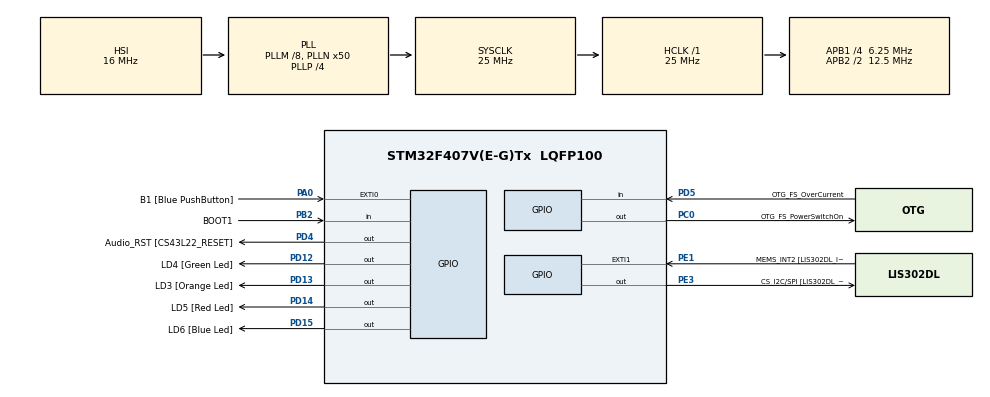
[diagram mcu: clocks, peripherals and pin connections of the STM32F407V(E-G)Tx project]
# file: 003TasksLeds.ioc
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Mcu.Family=STM32F4
Mcu.Name=STM32F407V(E-G)Tx
Mcu.Package=LQFP100
NVIC.PriorityGroup=NVIC_PRIORITYGROUP_4
NVIC.TIM6_DAC_IRQn=true\:0\:0\:false\:false\:true\:false\:true
NVIC.TimeBase=TIM6_DAC_IRQn
NVIC.TimeBaseIP=TIM6
PA0-WKUP.GPIO_Label=B1 [Blue PushButton]
PA0-WKUP.Signal=GPXTI0
PA10.GPIO_Label=OTG_FS_ID
PA10.GPIO_Mode=GPIO_MODE_AF_PP
PA10.GPIO_PuPd=GPIO_NOPULL
PA10.GPIO_Speed=GPIO_SPEED_FREQ_LOW
PA10.Signal=USB_OTG_FS_ID
PA11.GPIO_Label=OTG_FS_DM
PA11.GPIO_Mode=GPIO_MODE_AF_PP
PA11.GPIO_PuPd=GPIO_NOPULL
PA11.GPIO_Speed=GPIO_SPEED_FREQ_LOW
PA11.Signal=USB_OTG_FS_DM
PA12.GPIO_Label=OTG_FS_DP
PA12.GPIO_Mode=GPIO_MODE_AF_PP
PA12.GPIO_PuPd=GPIO_NOPULL
PA12.GPIO_Speed=GPIO_SPEED_FREQ_LOW
PA12.Signal=USB_OTG_FS_DP
PA13.GPIO_Label=SWDIO
PA13.Signal=SYS_JTMS-SWDIO
PA14.GPIO_Label=SWCLK
PA14.Signal=SYS_JTCK-SWCLK
PA4.GPIO_Label=I2S3_WS [CS43L22_LRCK]
PA4.GPIO_Mode=GPIO_MODE_AF_PP
PA4.GPIO_PuPd=GPIO_NOPULL
PA4.GPIO_Speed=GPIO_SPEED_FREQ_LOW
PA4.Signal=I2S3_WS
PA5.GPIO_Label=SPI1_SCK [LIS302DL_SCL/SPC]
PA5.GPIO_Mode=GPIO_MODE_AF_PP
PA5.GPIO_PuPd=GPIO_NOPULL
PA5.GPIO_Speed=GPIO_SPEED_FREQ_LOW
PA5.Signal=SPI1_SCK
PA6.GPIO_Label=SPI1_MISO [LIS302DL_SDO]
PA6.GPIO_Mode=GPIO_MODE_AF_PP
PA6.GPIO_PuPd=GPIO_NOPULL
PA6.GPIO_Speed=GPIO_SPEED_FREQ_LOW
PA6.Signal=SPI1_MISO
PA7.GPIO_Label=SPI1_MOSI [LIS302DL_SDA/SDI/SDO]
PA7.GPIO_Mode=GPIO_MODE_AF_PP
PA7.GPIO_PuPd=GPIO_NOPULL
PA7.GPIO_Speed=GPIO_SPEED_FREQ_LOW
PA7.Signal=SPI1_MOSI
PA9.GPIO_Label=VBUS_FS
PA9.GPIO_Mode=GPIO_MODE_INPUT
PA9.GPIO_PuPd=GPIO_NOPULL
PA9.Signal=USB_OTG_FS_VBUS
PB10.GPIO_Label=CLK_IN [MP45DT02_CLK]
PB10.GPIO_Mode=GPIO_MODE_AF_PP
PB10.GPIO_PuPd=GPIO_NOPULL
PB10.GPIO_Speed=GPIO_SPEED_FREQ_LOW
PB10.Signal=I2S2_CK
PB2.GPIO_Label=BOOT1
PB2.GPIO_Mode=GPIO_MODE_INPUT
PB2.GPIO_PuPd=GPIO_NOPULL
PB2.Signal=GPIO_Input
PB3.GPIO_Label=SWO
PB3.Signal=SYS_JTDO-SWO
PB6.GPIO_Label=Audio_SCL [CS43L22_SCL]
PB6.GPIO_Mode=GPIO_MODE_AF_OD
PB6.GPIO_PuPd=GPIO_NOPULL
PB6.GPIO_Speed=GPIO_SPEED_FREQ_LOW
PB6.Signal=I2C1_SCL
PB9.GPIO_Label=Audio_SDA [CS43L22_SDA]
PB9.GPIO_Mode=GPIO_MODE_AF_OD
PB9.GPIO_PuPd=GPIO_NOPULL
PB9.GPIO_Speed=GPIO_SPEED_FREQ_LOW
PB9.Signal=I2C1_SDA
PC0.GPIO_Label=OTG_FS_PowerSwitchOn
PC0.GPIO_PuPd=GPIO_NOPULL
PC0.GPIO_Speed=GPIO_SPEED_FREQ_LOW
PC0.PinState=GPIO_PIN_SET
PC0.Signal=GPIO_Output
PC10.GPIO_Label=I2S3_SCK [CS43L22_SCLK]
PC10.GPIO_Mode=GPIO_MODE_AF_PP
PC10.GPIO_PuPd=GPIO_NOPULL
PC10.GPIO_Speed=GPIO_SPEED_FREQ_LOW
PC10.Signal=I2S3_CK
PC12.GPIO_Label=I2S3_SD [CS43L22_SDIN]
PC12.GPIO_Mode=GPIO_MODE_AF_PP
PC12.GPIO_PuPd=GPIO_NOPULL
PC12.GPIO_Speed=GPIO_SPEED_FREQ_LOW
PC12.Signal=I2S3_SD
PC14-OSC32_IN.GPIO_Label=PC14-OSC32_IN
PC14-OSC32_IN.Signal=RCC_OSC32_IN
PC15-OSC32_OUT.GPIO_Label=PC15-OSC32_OUT
PC15-OSC32_OUT.Signal=RCC_OSC32_OUT
PC3.GPIO_Label=PDM_OUT [MP45DT02_DOUT]
PC3.GPIO_Mode=GPIO_MODE_AF_PP
PC3.GPIO_PuPd=GPIO_NOPULL
PC3.GPIO_Speed=GPIO_SPEED_FREQ_LOW
PC3.Signal=I2S2_SD
PC7.GPIO_Label=I2S3_MCK [CS43L22_MCLK]
PC7.GPIO_Mode=GPIO_MODE_AF_PP
PC7.GPIO_PuPd=GPIO_NOPULL
PC7.GPIO_Speed=GPIO_SPEED_FREQ_LOW
PC7.Signal=I2S3_MCK
PD12.GPIO_Label=LD4 [Green Led]
PD12.GPIO_PuPd=GPIO_NOPULL
PD12.GPIO_Speed=GPIO_SPEED_FREQ_LOW
PD12.Signal=GPIO_Output
PD13.GPIO_Label=LD3 [Orange Led]
PD13.GPIO_PuPd=GPIO_NOPULL
PD13.GPIO_Speed=GPIO_SPEED_FREQ_LOW
PD13.Signal=GPIO_Output
PD14.GPIO_Label=LD5 [Red Led]
PD14.GPIO_PuPd=GPIO_NOPULL
PD14.GPIO_Speed=GPIO_SPEED_FREQ_LOW
PD14.Signal=GPIO_Output
PD15.GPIO_Label=LD6 [Blue Led]
PD15.GPIO_PuPd=GPIO_NOPULL
PD15.GPIO_Speed=GPIO_SPEED_FREQ_LOW
PD15.Signal=GPIO_Output
PD4.GPIO_Label=Audio_RST [CS43L22_RESET]
PD4.GPIO_PuPd=GPIO_NOPULL
PD4.GPIO_Speed=GPIO_SPEED_FREQ_LOW
PD4.Signal=GPIO_Output
PD5.GPIO_Label=OTG_FS_OverCurrent
PD5.GPIO_Mode=GPIO_MODE_INPUT
PD5.GPIO_PuPd=GPIO_NOPULL
PD5.Signal=GPIO_Input
PE1.GPIO_Label=MEMS_INT2 [LIS302DL_INT2]
PE1.GPIO_ModeDefaultEXTI=GPIO_MODE_EVT_RISING
PE1.GPIO_PuPd=GPIO_NOPULL
PE1.Signal=GPXTI1
PE3.GPIO_Label=CS_I2C/SPI [LIS302DL_CS_I2C/SPI]
PE3.GPIO_PuPd=GPIO_NOPULL
PE3.GPIO_Speed=GPIO_SPEED_FREQ_LOW
PE3.Signal=GPIO_Output
PH0-OSC_IN.GPIO_Label=PH0-OSC_IN
PH0-OSC_IN.Signal=RCC_OSC_IN
PH1-OSC_OUT.GPIO_Label=PH1-OSC_OUT
PH1-OSC_OUT.Signal=RCC_OSC_OUT
ProjectManager.HeapSize=0x200
ProjectManager.StackSize=0x400
ProjectManager.TargetToolchain=STM32CubeIDE
RCC.48MHZClocksFreq_Value=14285714.285714285
RCC.AHBFreq_Value=25000000
RCC.APB1CLKDivider=RCC_HCLK_DIV4
RCC.APB1Freq_Value=6250000
RCC.APB1TimFreq_Value=12500000
RCC.APB2CLKDivider=RCC_HCLK_DIV2
RCC.APB2Freq_Value=12500000
RCC.APB2TimFreq_Value=25000000
RCC.CortexFreq_Value=25000000
RCC.HCLKFreq_Value=25000000
RCC.HSE_VALUE=8000000
RCC.HSI_VALUE=16000000
RCC.LSE_VALUE=32768
RCC.PLLM=8
RCC.PLLN=50
RCC.PLLP=RCC_PLLP_DIV4
RCC.PLLQ=7
RCC.SYSCLKFreq_VALUE=25000000
RCC.SYSCLKSource=RCC_SYSCLKSOURCE_PLLCLK
RCC.VCOOutputFreq_Value=100000000
VP_SYS_VS_tim6.Mode=TIM6
board=STM32F407G-DISC1

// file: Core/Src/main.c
/* USER CODE BEGIN Header */
/**
  ******************************************************************************
  * @file           : main.c
  * @brief          : Main program body
  ******************************************************************************
  * @attention
  *
  * Copyright (c) 2022 STMicroelectronics.
  * All rights reserved.
  *
  * This software is licensed under terms that can be found in the LICENSE file
  * in the root directory of this software component.
  * If no LICENSE file comes with this software, it is provided AS-IS.
  *
  ******************************************************************************
  */
/* USER CODE END Header */
#include "main.h"

/* USER CODE BEGIN Includes */
#include "FreeRTOS.h"
#include "task.h"
#include <stdio.h>

/* USER CODE END Includes */

/* USER CODE BEGIN PV */
#define DWT_CTRL (*(volatile uint32_t*)	0xE0001000)

/* USER CODE END PV */

void SystemClock_Config(void);
static void MX_GPIO_Init(void);
/* USER CODE BEGIN PFP */
void led_green_handler(void* parameters);
void led_orange_handler(void* parameters);
void led_red_handler(void* parameters);
void led_blue_handler(void* parameters);

/* USER CODE END PFP */

int main(void)
{
  /* USER CODE BEGIN 1 */
	TaskHandle_t task1_handle;
	TaskHandle_t task2_handle;
	TaskHandle_t task3_handle;
	TaskHandle_t task4_handle;

	BaseType_t status;
  /* USER CODE END 1 */

  /* MCU Configuration--------------------------------------------------------*/

  /* Reset of all peripherals, Initializes the Flash interface and the Systick. */
  HAL_Init();

  /* Configure the system clock */
  SystemClock_Config();

  /* Initialize all configured peripherals */
  MX_GPIO_Init();
  /* USER CODE BEGIN 2 */

  DWT_CTRL |= (1<<0);

  SEGGER_SYSVIEW_Conf();

  SEGGER_SYSVIEW_Start();

  status = xTaskCreate(led_green_handler, "Led Green Task", 200, NULL, 2, &task1_handle);

  configASSERT(status==pdPASS);

  status = xTaskCreate(led_orange_handler, "Led Orange Task", 200, NULL, 2, &task2_handle);

  configASSERT(status==pdPASS);

  status = xTaskCreate(led_red_handler, "Led Red Task", 200, NULL, 2, &task3_handle);

  configASSERT(status==pdPASS);

  status = xTaskCreate(led_blue_handler, "Led Blue Task", 200, NULL, 2, &task4_handle);

  configASSERT(status==pdPASS);

  vTaskStartScheduler();
  /* USER CODE END 2 */

  /* Infinite loop */
  while (1)
  {

  }
}

void SystemClock_Config(void)
{
  RCC_OscInitTypeDef RCC_OscInitStruct = {0};
  RCC_ClkInitTypeDef RCC_ClkInitStruct = {0};

  /** Configure the main internal regulator output voltage
  */
  __HAL_RCC_PWR_CLK_ENABLE();
  __HAL_PWR_VOLTAGESCALING_CONFIG(PWR_REGULATOR_VOLTAGE_SCALE1);
  /** Initializes the RCC Oscillators according to the specified parameters
  * in the RCC_OscInitTypeDef structure.
  */
  RCC_OscInitStruct.OscillatorType = RCC_OSCILLATORTYPE_HSI;
  RCC_OscInitStruct.HSIState = RCC_HSI_ON;
  RCC_OscInitStruct.HSICalibrationValue = RCC_HSICALIBRATION_DEFAULT;
  RCC_OscInitStruct.PLL.PLLState = RCC_PLL_ON;
  RCC_OscInitStruct.PLL.PLLSource = RCC_PLLSOURCE_HSI;
  RCC_OscInitStruct.PLL.PLLM = 8;
  RCC_OscInitStruct.PLL.PLLN = 50;
  RCC_OscInitStruct.PLL.PLLP = RCC_PLLP_DIV4;
  RCC_OscInitStruct.PLL.PLLQ = 7;
  if (HAL_RCC_OscConfig(&RCC_OscInitStruct) != HAL_OK)
  {
    Error_Handler();
  }
  /** Initializes the CPU, AHB and APB buses clocks
  */
  RCC_ClkInitStruct.ClockType = RCC_CLOCKTYPE_HCLK|RCC_CLOCKTYPE_SYSCLK
                              |RCC_CLOCKTYPE_PCLK1|RCC_CLOCKTYPE_PCLK2;
  RCC_ClkInitStruct.SYSCLKSource = RCC_SYSCLKSOURCE_PLLCLK;
  RCC_ClkInitStruct.AHBCLKDivider = RCC_SYSCLK_DIV1;
  RCC_ClkInitStruct.APB1CLKDivider = RCC_HCLK_DIV4;
  RCC_ClkInitStruct.APB2CLKDivider = RCC_HCLK_DIV2;

  if (HAL_RCC_ClockConfig(&RCC_ClkInitStruct, FLASH_LATENCY_0) != HAL_OK)
  {
    Error_Handler();
  }
}

static void MX_GPIO_Init(void)
{
  GPIO_InitTypeDef GPIO_InitStruct = {0};

  /* GPIO Ports Clock Enable */
  __HAL_RCC_GPIOE_CLK_ENABLE();
  __HAL_RCC_GPIOC_CLK_ENABLE();
  __HAL_RCC_GPIOH_CLK_ENABLE();
  __HAL_RCC_GPIOA_CLK_ENABLE();
  __HAL_RCC_GPIOB_CLK_ENABLE();
  __HAL_RCC_GPIOD_CLK_ENABLE();

  /*Configure GPIO pin Output Level */
  HAL_GPIO_WritePin(CS_I2C_SPI_GPIO_Port, CS_I2C_SPI_Pin, GPIO_PIN_RESET);

  /*Configure GPIO pin Output Level */
  HAL_GPIO_WritePin(OTG_FS_PowerSwitchOn_GPIO_Port, OTG_FS_PowerSwitchOn_Pin, GPIO_PIN_SET);

  /*Configure GPIO pin Output Level */
  HAL_GPIO_WritePin(GPIOD, LD4_Pin|LD3_Pin|LD5_Pin|LD6_Pin
                          |Audio_RST_Pin, GPIO_PIN_RESET);

  /*Configure GPIO pin : CS_I2C_SPI_Pin */
  GPIO_InitStruct.Pin = CS_I2C_SPI_Pin;
  GPIO_InitStruct.Mode = GPIO_MODE_OUTPUT_PP;
  GPIO_InitStruct.Pull = GPIO_NOPULL;
  GPIO_InitStruct.Speed = GPIO_SPEED_FREQ_LOW;
  HAL_GPIO_Init(CS_I2C_SPI_GPIO_Port, &GPIO_InitStruct);

  /*Configure GPIO pin : OTG_FS_PowerSwitchOn_Pin */
  GPIO_InitStruct.Pin = OTG_FS_PowerSwitchOn_Pin;
  GPIO_InitStruct.Mode = GPIO_MODE_OUTPUT_PP;
  GPIO_InitStruct.Pull = GPIO_NOPULL;
  GPIO_InitStruct.Speed = GPIO_SPEED_FREQ_LOW;
  HAL_GPIO_Init(OTG_FS_PowerSwitchOn_GPIO_Port, &GPIO_InitStruct);

  /*Configure GPIO pin : PDM_OUT_Pin */
  GPIO_InitStruct.Pin = PDM_OUT_Pin;
  GPIO_InitStruct.Mode = GPIO_MODE_AF_PP;
  GPIO_InitStruct.Pull = GPIO_NOPULL;
  GPIO_InitStruct.Speed = GPIO_SPEED_FREQ_LOW;
  GPIO_InitStruct.Alternate = GPIO_AF5_SPI2;
  HAL_GPIO_Init(PDM_OUT_GPIO_Port, &GPIO_InitStruct);

  /*Configure GPIO pin : B1_Pin */
  GPIO_InitStruct.Pin = B1_Pin;
  GPIO_InitStruct.Mode = GPIO_MODE_IT_RISING;
  GPIO_InitStruct.Pull = GPIO_NOPULL;
  HAL_GPIO_Init(B1_GPIO_Port, &GPIO_InitStruct);

  /*Configure GPIO pin : I2S3_WS_Pin */
  GPIO_InitStruct.Pin = I2S3_WS_Pin;
  GPIO_InitStruct.Mode = GPIO_MODE_AF_PP;
  GPIO_InitStruct.Pull = GPIO_NOPULL;
  GPIO_InitStruct.Speed = GPIO_SPEED_FREQ_LOW;
  GPIO_InitStruct.Alternate = GPIO_AF6_SPI3;
  HAL_GPIO_Init(I2S3_WS_GPIO_Port, &GPIO_InitStruct);

  /*Configure GPIO pins : SPI1_SCK_Pin SPI1_MISO_Pin SPI1_MOSI_Pin */
  GPIO_InitStruct.Pin = SPI1_SCK_Pin|SPI1_MISO_Pin|SPI1_MOSI_Pin;
  GPIO_InitStruct.Mode = GPIO_MODE_AF_PP;
  GPIO_InitStruct.Pull = GPIO_NOPULL;
  GPIO_InitStruct.Speed = GPIO_SPEED_FREQ_LOW;
  GPIO_InitStruct.Alternate = GPIO_AF5_SPI1;
  HAL_GPIO_Init(GPIOA, &GPIO_InitStruct);

  /*Configure GPIO pin : BOOT1_Pin */
  GPIO_InitStruct.Pin = BOOT1_Pin;
  GPIO_InitStruct.Mode = GPIO_MODE_INPUT;
  GPIO_InitStruct.Pull = GPIO_NOPULL;
  HAL_GPIO_Init(BOOT1_GPIO_Port, &GPIO_InitStruct);

  /*Configure GPIO pin : CLK_IN_Pin */
  GPIO_InitStruct.Pin = CLK_IN_Pin;
  GPIO_InitStruct.Mode = GPIO_MODE_AF_PP;
  GPIO_InitStruct.Pull = GPIO_NOPULL;
  GPIO_InitStruct.Speed = GPIO_SPEED_FREQ_LOW;
  GPIO_InitStruct.Alternate = GPIO_AF5_SPI2;
  HAL_GPIO_Init(CLK_IN_GPIO_Port, &GPIO_InitStruct);

  /*Configure GPIO pins : LD4_Pin LD3_Pin LD5_Pin LD6_Pin
                           Audio_RST_Pin */
  GPIO_InitStruct.Pin = LD4_Pin|LD3_Pin|LD5_Pin|LD6_Pin
                          |Audio_RST_Pin;
  GPIO_InitStruct.Mode = GPIO_MODE_OUTPUT_PP;
  GPIO_InitStruct.Pull = GPIO_NOPULL;
  GPIO_InitStruct.Speed = GPIO_SPEED_FREQ_LOW;
  HAL_GPIO_Init(GPIOD, &GPIO_InitStruct);

  /*Configure GPIO pins : I2S3_MCK_Pin I2S3_SCK_Pin I2S3_SD_Pin */
  GPIO_InitStruct.Pin = I2S3_MCK_Pin|I2S3_SCK_Pin|I2S3_SD_Pin;
  GPIO_InitStruct.Mode = GPIO_MODE_AF_PP;
  GPIO_InitStruct.Pull = GPIO_NOPULL;
  GPIO_InitStruct.Speed = GPIO_SPEED_FREQ_LOW;
  GPIO_InitStruct.Alternate = GPIO_AF6_SPI3;
  HAL_GPIO_Init(GPIOC, &GPIO_InitStruct);

  /*Configure GPIO pin : VBUS_FS_Pin */
  GPIO_InitStruct.Pin = VBUS_FS_Pin;
  GPIO_InitStruct.Mode = GPIO_MODE_INPUT;
  GPIO_InitStruct.Pull = GPIO_NOPULL;
  HAL_GPIO_Init(VBUS_FS_GPIO_Port, &GPIO_InitStruct);

  /*Configure GPIO pins : OTG_FS_ID_Pin OTG_FS_DM_Pin OTG_FS_DP_Pin */
  GPIO_InitStruct.Pin = OTG_FS_ID_Pin|OTG_FS_DM_Pin|OTG_FS_DP_Pin;
  GPIO_InitStruct.Mode = GPIO_MODE_AF_PP;
  GPIO_InitStruct.Pull = GPIO_NOPULL;
  GPIO_InitStruct.Speed = GPIO_SPEED_FREQ_LOW;
  GPIO_InitStruct.Alternate = GPIO_AF10_OTG_FS;
  HAL_GPIO_Init(GPIOA, &GPIO_InitStruct);

  /*Configure GPIO pin : OTG_FS_OverCurrent_Pin */
  GPIO_InitStruct.Pin = OTG_FS_OverCurrent_Pin;
  GPIO_InitStruct.Mode = GPIO_MODE_INPUT;
  GPIO_InitStruct.Pull = GPIO_NOPULL;
  HAL_GPIO_Init(OTG_FS_OverCurrent_GPIO_Port, &GPIO_InitStruct);

  /*Configure GPIO pins : Audio_SCL_Pin Audio_SDA_Pin */
  GPIO_InitStruct.Pin = Audio_SCL_Pin|Audio_SDA_Pin;
  GPIO_InitStruct.Mode = GPIO_MODE_AF_OD;
  GPIO_InitStruct.Pull = GPIO_NOPULL;
  GPIO_InitStruct.Speed = GPIO_SPEED_FREQ_LOW;
  GPIO_InitStruct.Alternate = GPIO_AF4_I2C1;
  HAL_GPIO_Init(GPIOB, &GPIO_InitStruct);

  /*Configure GPIO pin : MEMS_INT2_Pin */
  GPIO_InitStruct.Pin = MEMS_INT2_Pin;
  GPIO_InitStruct.Mode = GPIO_MODE_EVT_RISING;
  GPIO_InitStruct.Pull = GPIO_NOPULL;
  HAL_GPIO_Init(MEMS_INT2_GPIO_Port, &GPIO_InitStruct);

}

/* USER CODE BEGIN 4 */
void led_green_handler(void* parameters)
{
	while(1)
	{
		HAL_GPIO_TogglePin(GPIOD, LD4_Pin);
		//HAL_Delay(1000);
		vTaskDelay(1000);
		SEGGER_SYSVIEW_PrintfTarget("Green Led toggled");

	}
}
void led_orange_handler(void* parameters)
{
	while(1)
	{
		HAL_GPIO_TogglePin(GPIOD, LD3_Pin);
		vTaskDelay(800);
		SEGGER_SYSVIEW_PrintfTarget("Orange Led toggled");
	}
}
void led_red_handler(void* parameters)
{
	while(1)
	{
		HAL_GPIO_TogglePin(GPIOD, LD5_Pin);
		vTaskDelay(600);
		SEGGER_SYSVIEW_PrintfTarget("Red Led toggled");
	}
}
void led_blue_handler(void* parameters)
{
	while(1)
	{
		HAL_GPIO_TogglePin(GPIOD, LD6_Pin);
		vTaskDelay(400);
		SEGGER_SYSVIEW_PrintfTarget("Blue Led toggled");

	}
}
/* USER CODE END 4 */

void HAL_TIM_PeriodElapsedCallback(TIM_HandleTypeDef *htim)
{
  if (htim->Instance == TIM6) {
    HAL_IncTick();
  }
}

void Error_Handler(void)
{
  __disable_irq();
  while (1)
  {
  }
}
